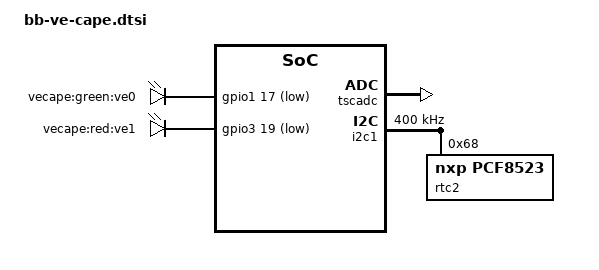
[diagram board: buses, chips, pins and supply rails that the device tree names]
#include "bbb-dcan0.dtsi"
#include "bbb-dcan1.dtsi"
#include "bbb-uart2.dtsi"
#include "bbb-uart4.dtsi"
#include "bbb-uart5.dtsi"
#include "bb-ve-cape-buzzer.dtsi"
#include "bb-ve-cape-digital-inputs.dtsi"

/ {
	leds {
		compatible = "gpio-leds";
		pinctrl-names = "default";
		pinctrl-0 = <&ve_led_pins>;

		led@0 {
			label = "vecape:green:ve0";
			gpios = <&gpio1 17 GPIO_ACTIVE_LOW>;
			linux,default-trigger = "timer";
			default-state = "on";
		};

		led@1 {
			label = "vecape:red:ve1";
			gpios = <&gpio3 19 GPIO_ACTIVE_LOW>;
			linux,default-trigger = "off";
		};
	};
};

&am33xx_pinmux {
	// note: needed by bb-ve-cape-digital-inputs.dtsi
	pinctrl-0 = <&digital_inputs>;

	ve_led_pins: pinmux_led_pins {
		pinctrl-single,pins = <
			0x044 (PIN_OUTPUT | MUX_MODE7)	/* gpmc_a1.gpio49 */
			0x1A4 (PIN_OUTPUT | MUX_MODE7)	/* mcasp0_fsr.gpio115 */
		>;
	};

	i2c1_pins: pinmux_i2c1_pins {
		pinctrl-single,pins = <
			0x158 (PIN_INPUT | MUX_MODE2)	/* spi0_d1.i2c1_sda */
			0x15C (PIN_INPUT | MUX_MODE2)	/* spi0_cs0.i2c1_scl */
		>;
	};
};

&tscadc {
	status = "okay";

	adc {
		ti,adc-channels = <0 1 2 3 4 5 6>;
	};
};

&i2c1 {
	pinctrl-names = "default";
	pinctrl-0 = <&i2c1_pins>;
	status = "okay";
	clock-frequency = <400000>;

	rtc2: pcf8523@68 {
		compatible = "nxp,pcf8523";
		reg = <0x68>;
	};
};
